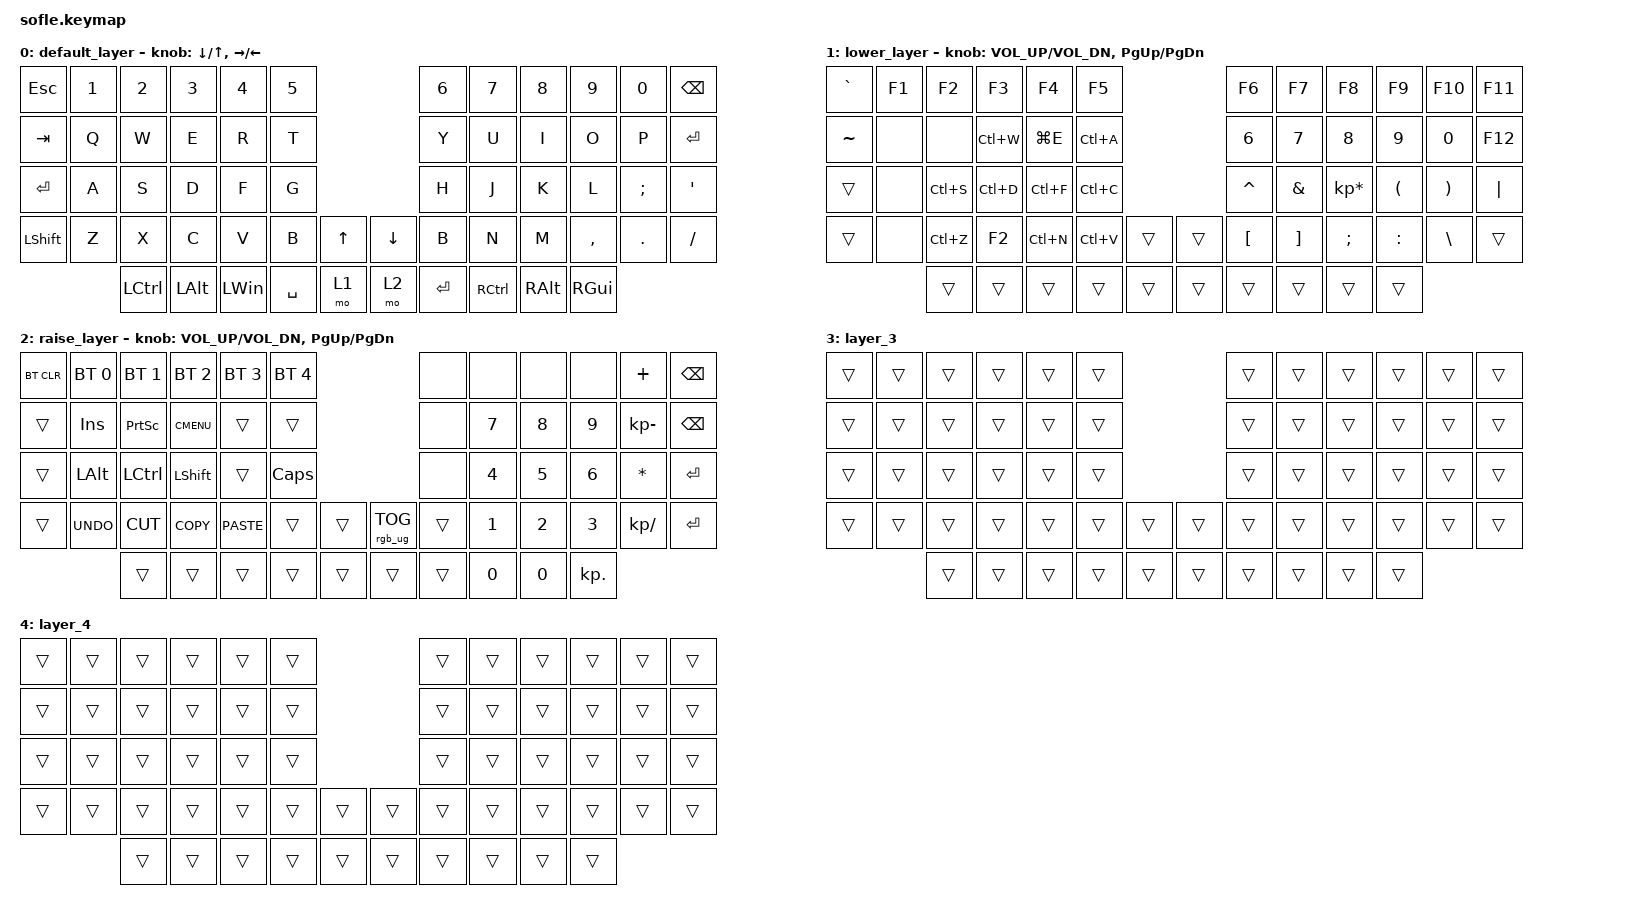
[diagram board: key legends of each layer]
/*
 * Copyright (c) 2020 The ZMK Contributors
 *
 * SPDX-License-Identifier: MIT
 */

#include <behaviors.dtsi>
#include <dt-bindings/zmk/keys.h>
#include <dt-bindings/zmk/bt.h>
#include <dt-bindings/zmk/ext_power.h>
#include <dt-bindings/zmk/rgb.h>

/*
 * Temporarily here because nice nano v2 spi is not defined on ZMK Yet
 * Source: https://github.com/zmkfirmware/zmk/blob/main/app/boards/shields/reviung41/boards/nice_nano.overlay
 * GitHub Issue: https://github.com/zmkfirmware/zmk/issues/885
 */

#include <dt-bindings/led/led.h>

&pinctrl {
    spi3_default: spi3_default {
        group1 {
            psels = <NRF_PSEL(SPIM_MOSI, 0, 8)>;
        };
    };

    spi3_sleep: spi3_sleep {
        group1 {
            psels = <NRF_PSEL(SPIM_MOSI, 0, 8)>;
            low-power-enable;
        };
    };
};

&spi3 {
    compatible = "nordic,nrf-spim";
    status = "okay";

    pinctrl-0 = <&spi3_default>;
    pinctrl-1 = <&spi3_sleep>;
    pinctrl-names = "default", "sleep";

    led_strip: ws2812@0 {
        compatible = "worldsemi,ws2812-spi";
        label = "WS2812";

        /* SPI */
        reg = <0>; /* ignored, but necessary for SPI bindings */
        spi-max-frequency = <4000000>;

        /* WS2812 */
        chain-length = <30>;
        spi-one-frame = <0x70>;
        spi-zero-frame = <0x40>;

        color-mapping = <LED_COLOR_ID_GREEN LED_COLOR_ID_RED LED_COLOR_ID_BLUE>;
    };
};

/ {
    chosen {
        zmk,underglow = &led_strip;
    };
};

/* END temporary RGB support section */

/ {
    combos {
        compatible = "zmk,combos";

        left1 {
            bindings = <&kp LEFT_BRACE>;
            key-positions = <17 16>;
        };

        left2 {
            bindings = <&kp LEFT_BRACKET>;
            key-positions = <29 28>;
        };

        left3 {
            bindings = <&kp LEFT_PARENTHESIS>;
            key-positions = <41 40>;
        };

        right1 {
            bindings = <&kp RIGHT_BRACE>;
            key-positions = <18 19>;
        };

        right2 {
            bindings = <&kp RIGHT_BRACKET>;
            key-positions = <30 31>;
        };

        right3 {
            bindings = <&kp RIGHT_PARENTHESIS>;
            key-positions = <44 45>;
        };

        co1 {
            bindings = <&kp PLUS>;
            key-positions = <17 18>;
        };

        co2 {
            bindings = <&kp MINUS>;
            key-positions = <29 30>;
        };

        co3 {
            bindings = <&kp UNDERSCORE>;
            key-positions = <41 44>;
        };

        co4 {
            bindings = <&kp EQUAL>;
            key-positions = <5 6>;
        };

        del {
            bindings = <&kp DELETE>;
            key-positions = <10 11>;
        };
    };

    keymap {
        compatible = "zmk,keymap";

        default_layer {
            // ------------------------------------------------------------------------------------------------------------------
            // |  `    |  1  |  2  |  3   |  4   |  5   |                         |  6   |  7    |  8    |  9   |   0   |       |
            // |  ESC  |  Q  |  W  |  E   |  R   |  T   |                         |  Y   |  U    |  I    |  O   |   P   | BKSPC |
            // |  TAB  |  A  |  S  |  D   |  F   |  G   |                         |  H   |  J    |  K    |  L   |   ;   |   '   |
            // | SHIFT |  Z  |  X  |  C   |  V   |  B   |  MUTE  |        | ExtPw |  N   |  M    |  ,    |  .   |   /   | SHIFT |
            //               | GUI | ALT  | CTRL | LOWER|  ENTER |        | SPACE | RAISE| CTRL  | ALT   | GUI  |

            bindings = <
&kp ESC    &kp N1  &kp N2     &kp N3    &kp N4        &kp N5                         &kp N6     &kp N7     &kp N8    &kp N9     &kp N0      &kp BACKSPACE
&kp TAB    &kp Q   &kp W      &kp E     &kp R         &kp T                          &kp Y      &kp U      &kp I     &kp O      &kp P       &kp ENTER
&kp ENTER  &kp A   &kp S      &kp D     &kp F         &kp G                          &kp H      &kp J      &kp K     &kp L      &kp SEMI    &kp SQT
&kp LSHFT  &kp Z   &kp X      &kp C     &kp V         &kp B      &kp UP    &kp DOWN  &kp B      &kp N      &kp M     &kp COMMA  &kp PERIOD  &kp SLASH
                   &kp LCTRL  &kp LALT  &kp LEFT_WIN  &kp SPACE  &mo 1     &mo 2     &kp ENTER  &kp RCTRL  &kp RALT  &kp RGUI
            >;

            sensor-bindings =
                <&inc_dec_kp DOWN UP>,
                <&inc_dec_kp RIGHT LEFT_ARROW>;
        };

        lower_layer {
            // TODO: Some binds are waiting for shifted keycode support.
            // ------------------------------------------------------------------------------------------------------------
            // |       |  F1 |  F2 |  F3  |  F4  |  F5  |                   |  F6  |  F7   |  F8   |  F9  |  F10  |  F11  |
            // | `     |   1 |   2 |   3  |   4  |   5  |                   |   6  |   7   |   8   |   9  |    0  |  F12  |
            // |       |  !  |  @  |  #   |  $   |  %   |                   |  ^   |  &    |  *    |  (   |   )   |   |   |
            // |       |  =  |  -  |  +   |  {   |  }   |        |  |       |  [   |  ]    |  ;    |  :   |   \   |       |
            //               |     |      |      |      |        |  |       |      |       |       |      |

            bindings = <
&kp GRAVE  &kp F1  &kp F2     &kp F3     &kp F4     &kp F5                       &kp F6     &kp F7    &kp F8           &kp F9     &kp F10   &kp F11
&kp TILDE  &none   &none      &kp LC(W)  &kp LG(E)  &kp LC(A)                    &kp N6     &kp N7    &kp N8           &kp N9     &kp N0    &kp F12
&trans     &none   &kp LC(S)  &kp LC(D)  &kp LC(F)  &kp LC(C)                    &kp CARET  &kp AMPS  &kp KP_MULTIPLY  &kp LPAR   &kp RPAR  &kp PIPE
&trans     &none   &kp LC(Z)  &kp F2     &kp LC(N)  &kp LC(V)  &trans    &trans  &kp LBKT   &kp RBKT  &kp SEMI         &kp COLON  &kp BSLH  &trans
                   &trans     &trans     &trans     &trans     &trans    &trans  &trans     &trans    &trans           &trans
            >;

            sensor-bindings = <&inc_dec_kp C_VOL_UP C_VOL_DN &inc_dec_kp PG_UP PG_DN>;
        };

        raise_layer {
            // ------------------------------------------------------------------------------------------------------------
            // |BTCLR| BT1  | BT2  |  BT3  |  BT4  |  BT5 |                 |      |      |       |      |       |       |
            // |     | INS  | PSCR | GUI   |       |      |                 | PGUP |      |   ^   |      |       |       |
            // |     | ALT  | CTRL | SHIFT |       | CAPS |                 | PGDN |   <- |   v   |  ->  |  DEL  | BKSPC |
            // |     | UNDO | CUT  | COPY  | PASTE |      |      |   | RGB  |      |      |       |      |       |       |
            //              |      |       |       |      |      |   |      |      |      |       |      |

            bindings = <
&bt BT_CLR  &bt BT_SEL 0  &bt BT_SEL 1  &bt BT_SEL 2  &bt BT_SEL 3  &bt BT_SEL 4                             &none   &none         &none         &none         &kp PLUS         &kp BACKSPACE
&trans      &kp INS       &kp PSCRN     &kp K_CMENU   &trans        &trans                                   &none   &kp NUMBER_7  &kp NUMBER_8  &kp NUMBER_9  &kp KP_SUBTRACT  &kp BACKSPACE
&trans      &kp LALT      &kp LCTRL     &kp LSHFT     &trans        &kp CLCK                                 &none   &kp NUMBER_4  &kp NUMBER_5  &kp NUMBER_6  &kp ASTERISK     &kp ENTER
&trans      &kp K_UNDO    &kp K_CUT     &kp K_COPY    &kp K_PASTE   &trans        &trans    &rgb_ug RGB_TOG  &trans  &kp NUMBER_1  &kp NUMBER_2  &kp NUMBER_3  &kp KP_DIVIDE    &kp ENTER
                          &trans        &trans        &trans        &trans        &trans    &trans           &trans  &kp NUMBER_0  &kp NUMBER_0  &kp KP_DOT
            >;

            sensor-bindings = <&inc_dec_kp C_VOL_UP C_VOL_DN &inc_dec_kp PG_UP PG_DN>;
        };

        layer_3 {
            bindings = <
&trans  &trans  &trans  &trans  &trans  &trans                    &trans  &trans  &trans  &trans  &trans  &trans
&trans  &trans  &trans  &trans  &trans  &trans                    &trans  &trans  &trans  &trans  &trans  &trans
&trans  &trans  &trans  &trans  &trans  &trans                    &trans  &trans  &trans  &trans  &trans  &trans
&trans  &trans  &trans  &trans  &trans  &trans  &trans    &trans  &trans  &trans  &trans  &trans  &trans  &trans
                &trans  &trans  &trans  &trans  &trans    &trans  &trans  &trans  &trans  &trans
            >;
        };

        layer_4 {
            bindings = <
&trans  &trans  &trans  &trans  &trans  &trans                    &trans  &trans  &trans  &trans  &trans  &trans
&trans  &trans  &trans  &trans  &trans  &trans                    &trans  &trans  &trans  &trans  &trans  &trans
&trans  &trans  &trans  &trans  &trans  &trans                    &trans  &trans  &trans  &trans  &trans  &trans
&trans  &trans  &trans  &trans  &trans  &trans  &trans    &trans  &trans  &trans  &trans  &trans  &trans  &trans
                &trans  &trans  &trans  &trans  &trans    &trans  &trans  &trans  &trans  &trans
            >;
        };
    };
};
